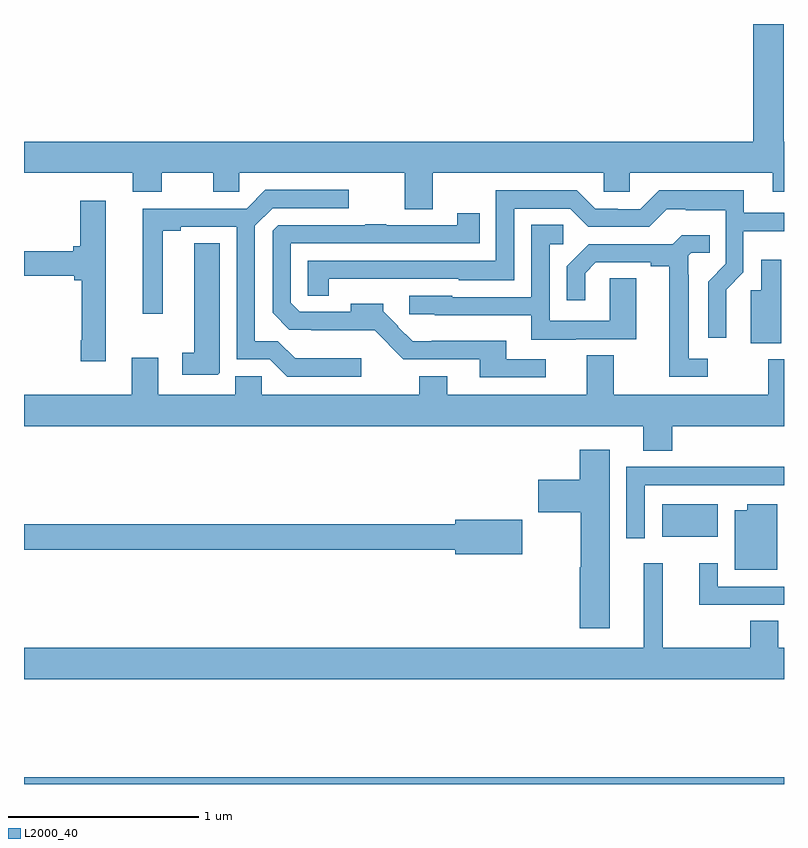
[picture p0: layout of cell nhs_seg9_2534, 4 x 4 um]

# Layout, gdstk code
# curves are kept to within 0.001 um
import gdstk
lib = gdstk.Library(unit=1e-6, precision=1e-09)
def R(c, l, rs):  # rectangles x0, y0, x1, y1
    for r in rs: c.add(gdstk.rectangle(r[:2], r[2:], *l))
def P(c, l, *ps):  # polygons
    for p in ps: c.add(gdstk.Polygon(p, *l))
L2000_40 = (2000, 40)

nhs_seg9_2534 = lib.new_cell('nhs_seg9_2534')
R(nhs_seg9_2534, L2000_40, [(255,1230.5,259,1230.536), (258.359,1231.802,258.652,1231.972)])
P(nhs_seg9_2534, L2000_40, [(257.151,1233.716),(258.051,1233.716),(258.051,1233.618),(258.189,1233.618),(258.189,1233.716),(258.941,1233.716),(258.941,1233.617),(259,1233.617),(259,1233.88),(258.999,1233.88),(258.999,1234.5),(258.839,1234.5),(258.839,1233.88),(255,1233.88),(255,1233.716),(255.572,1233.716),(255.572,1233.617),(255.724,1233.617),(255.724,1233.716),(255.995,1233.716),(255.995,1233.618),(256.134,1233.618),(256.134,1233.716),(257.003,1233.716),(257.003,1233.526),(257.151,1233.526)],
  [(256.774,1232.74),(256.427,1232.74),(256.336,1232.831),(256.215,1232.831),(256.215,1233.438),(256.308,1233.531),(256.708,1233.531),(256.708,1233.627),(256.271,1233.627),(256.172,1233.528),(255.626,1233.528),(255.626,1232.976),(255.73,1232.976),(255.73,1233.412),(255.826,1233.412),(255.826,1233.432),(256.119,1233.432),(256.119,1232.736),(256.293,1232.736),(256.386,1232.643),(256.774,1232.643)],
  [(258.696,1232.996),(258.695,1233.102),(258.786,1233.194),(258.786,1233.41),(259,1233.41),(259,1233.507),(258.787,1233.507),(258.787,1233.625),(258.343,1233.625),(258.243,1233.525),(258.126,1233.525),(258.126,1233.528),(258.006,1233.528),(257.91,1233.624),(257.484,1233.624),(257.484,1233.255),(256.494,1233.255),(256.494,1233.07),(256.603,1233.07),(256.603,1233.158),(257.289,1233.159),(257.289,1233.152),(257.58,1233.152),(257.58,1233.528),(257.874,1233.528),(257.97,1233.432),(258.291,1233.432),(258.384,1233.525),(258.484,1233.525),(258.484,1233.521),(258.693,1233.521),(258.693,1233.237),(258.6,1233.144),(258.6,1232.85),(258.696,1232.85)],
  [(255.43,1233.571),(255.296,1233.571),(255.296,1233.33),(255.26,1233.33),(255.26,1233.304),(255,1233.304),(255,1233.175),(255.265,1233.175),(255.265,1233.152),(255.304,1233.152),(255.304,1232.836),(255.299,1232.836),(255.299,1232.724),(255.43,1232.724)],
  [(257.746,1232.736),(257.539,1232.736),(257.539,1232.833),(257.146,1232.833),(257.146,1232.831),(257.045,1232.831),(256.968,1232.907),(256.971,1232.91),(256.892,1232.989),(256.892,1233.028),(256.721,1233.028),(256.721,1232.985),(256.452,1232.985),(256.404,1233.033),(256.404,1233.345),(257.399,1233.345),(257.399,1233.505),(257.281,1233.505),(257.281,1233.441),(256.907,1233.441),(256.907,1233.446),(256.795,1233.446),(256.795,1233.441),(256.338,1233.441),(256.308,1233.411),(256.308,1232.979),(256.397,1232.89),(256.513,1232.89),(256.513,1232.888),(256.847,1232.889),(256.921,1232.815),(256.919,1232.813),(256.995,1232.736),(257.399,1232.736),(257.399,1232.64),(257.746,1232.64)],
  [(257.905,1232.841),(258.223,1232.841),(258.223,1233.161),(258.084,1233.161),(258.084,1232.937),(257.766,1232.937),(257.766,1233.342),(257.839,1233.342),(257.839,1233.443),(257.67,1233.443),(257.67,1233.063),(257.253,1233.063),(257.253,1233.069),(257.028,1233.069),(257.028,1232.973),(257.163,1232.973),(257.163,1232.966),(257.669,1232.966),(257.669,1232.837),(257.905,1232.837)],
  [(258.598,1232.739),(258.499,1232.739),(258.499,1233.179),(258.495,1233.179),(258.495,1233.279),(258.513,1233.297),(258.608,1233.297),(258.608,1233.389),(258.462,1233.389),(258.414,1233.342),(257.972,1233.342),(257.856,1233.226),(257.856,1233.045),(257.953,1233.045),(257.953,1233.189),(258.01,1233.246),(258.299,1233.246),(258.299,1233.226),(258.395,1233.226),(258.395,1232.643),(258.598,1232.643)],
  [(256.03,1232.665),(256.03,1233.347),(255.896,1233.347),(255.896,1232.771),(255.834,1232.771),(255.834,1232.655),(256.02,1232.655)],
  [(258.985,1233.259),(258.881,1233.259),(258.881,1233.099),(258.824,1233.099),(258.824,1232.821),(258.985,1232.821)],
  [(258.413,1232.384),(259,1232.384),(259,1232.736),(258.916,1232.736),(258.916,1232.548),(258.103,1232.548),(258.103,1232.756),(257.963,1232.756),(257.963,1232.548),(257.227,1232.548),(257.227,1232.647),(257.08,1232.647),(257.08,1232.548),(256.251,1232.548),(256.251,1232.646),(256.112,1232.646),(256.112,1232.548),(255.706,1232.548),(255.706,1232.743),(255.566,1232.743),(255.566,1232.548),(255,1232.548),(255,1232.384),(258.26,1232.384),(258.26,1232.254),(258.413,1232.254)],
  [(258.082,1232.26),(257.924,1232.26),(257.924,1232.101),(257.706,1232.101),(257.706,1231.931),(257.929,1231.931),(257.929,1231.64),(257.924,1231.64),(257.924,1231.32),(258.082,1231.32)],
  [(258.267,1232.073),(259,1232.073),(259,1232.171),(258.496,1232.171),(258.496,1232.169),(258.171,1232.169),(258.171,1231.794),(258.267,1231.794)],
  [(258.964,1231.972),(258.806,1231.972),(258.806,1231.942),(258.74,1231.942),(258.74,1231.628),(258.964,1231.628)],
  [(257.623,1231.892),(257.27,1231.892),(257.27,1231.868),(255,1231.868),(255,1231.732),(257.27,1231.732),(257.27,1231.709),(257.623,1231.709)],
  [(259,1231.539),(258.651,1231.539),(258.651,1231.663),(258.554,1231.663),(258.554,1231.443),(259,1231.443)],
  [(259,1231.216),(258.97,1231.216),(258.97,1231.358),(258.823,1231.358),(258.823,1231.216),(258.362,1231.216),(258.362,1231.663),(258.263,1231.663),(258.263,1231.216),(255,1231.216),(255,1231.052),(259,1231.052)])

lib.write_gds('nhs_seg9_2534.gds')
